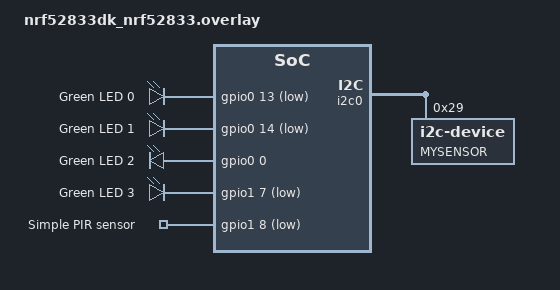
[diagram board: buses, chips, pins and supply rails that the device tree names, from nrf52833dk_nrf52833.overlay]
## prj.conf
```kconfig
# Increased stack due to settings API usage
CONFIG_SYSTEM_WORKQUEUE_STACK_SIZE=2048

CONFIG_BT=y
CONFIG_LOG=y
CONFIG_BT_SMP=y
CONFIG_BT_SIGNING=y
CONFIG_BT_PERIPHERAL=y
CONFIG_BT_DIS=y
CONFIG_BT_ATT_PREPARE_COUNT=5
CONFIG_BT_BAS=y
CONFIG_BT_HRS=y
CONFIG_BT_IAS=y
CONFIG_BT_PRIVACY=y
CONFIG_BT_DEVICE_NAME="Zephyr Peripheral Sample Long Name"
CONFIG_BT_DEVICE_APPEARANCE=833
CONFIG_BT_DEVICE_NAME_DYNAMIC=y
CONFIG_BT_DEVICE_NAME_MAX=65

CONFIG_BT_KEYS_OVERWRITE_OLDEST=y
CONFIG_BT_SETTINGS=y
CONFIG_FLASH=y
CONFIG_FLASH_PAGE_LAYOUT=y
CONFIG_FLASH_MAP=y
CONFIG_NVS=y
CONFIG_SETTINGS=y

CONFIG_GPIO=y
CONFIG_I2C=y
```

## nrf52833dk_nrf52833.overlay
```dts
// To get started, press Ctrl+Space to bring up the completion menu and view the available nodes.

// You can also use the buttons in the sidebar to perform actions on nodes.
// Actions currently available include:

// * Enabling / disabling the node
// * Adding the bus to a bus
// * Removing the node
// * Connecting ADC channels

// For more help, browse the DeviceTree documentation at https://docs.zephyrproject.org/latest/guides/dts/index.html
// You can also visit the nRF DeviceTree extension documentation at https://docs.nordicsemi.com/bundle/nrf-connect-vscode/page/guides/ncs_configure_app.html#devicetree-support-in-the-extension

    &i2c0 {
        mysensor: mysensor@29{
            compatible = "i2c-device";
            reg = < 0x29 >;
            label = "MYSENSOR";
        };
    };

    /{
        
        leds {
            led0: led_0 {
                gpios = <&gpio0 13 GPIO_ACTIVE_LOW>;
                label = "Green LED 0";
            };
            led1: led_1 {
                gpios = <&gpio0 14 GPIO_ACTIVE_LOW>;
                label = "Green LED 1";
            };
            led2: led_2 {
                gpios = <&gpio0 0 GPIO_ACTIVE_HIGH>;
                label = "Green LED 2";
            };
            led3: led_3 {
                gpios = <&gpio1 7 (GPIO_PULL_UP | GPIO_ACTIVE_LOW)>;
                label = "Green LED 3";
            };
        };
        

        MySignals
        {
         compatible = "gpio-keys";
          pir: pir
          {
            gpios = <&gpio1 8  (GPIO_PULL_UP | GPIO_ACTIVE_LOW)>;  
            label = "Simple PIR sensor";
          };
        };
        aliases {
            pir = &pir;
            led1 = &led1;
        };
    };
    
```

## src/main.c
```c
/* main.c - Application main entry point */

/*
 * Copyright (c) 2015-2016 Intel Corporation
 *
 * SPDX-License-Identifier: Apache-2.0
 */

#include <zephyr/types.h>
#include <stddef.h>
#include <string.h>
#include <errno.h>
#include <zephyr/sys/printk.h>
#include <zephyr/kernel.h>

#include <zephyr/drivers/gpio.h>

#include <zephyr/settings/settings.h>

#include <zephyr/bluetooth/bluetooth.h>
#include <zephyr/bluetooth/hci.h>
#include <zephyr/bluetooth/conn.h>
#include <zephyr/bluetooth/uuid.h>
#include <zephyr/bluetooth/gatt.h>
#include <zephyr/bluetooth/services/bas.h>
#include <zephyr/bluetooth/services/hrs.h>
#include <zephyr/bluetooth/services/ias.h>

#include "tsl.h"

#define LED0_NODE DT_ALIAS(led0) //blink
#define PIR1_NODE DT_ALIAS(pir) //pir

bool flag = 0; //blink flag
static const struct gpio_dt_spec led = GPIO_DT_SPEC_GET(LED0_NODE, gpios);
static const struct gpio_dt_spec pir = GPIO_DT_SPEC_GET_OR(PIR1_NODE, gpios, {0});

//uint32_t msg = 10; // test

uint64_t time_stamp = 0;

const uint32_t id = 0;
volatile uint32_t lux = 0;
volatile uint8_t movement = 1;

// ID | LUX | PIR
volatile uint32_t msg [] = {id, 0, 0};

// | 1 bajt flagi | 4 bajty ID | 4 bajty LUX | 4 bajty PIR |
static struct bt_data ad[] = {
    BT_DATA_BYTES(BT_DATA_FLAGS, 100),
    BT_DATA(BT_DATA_MANUFACTURER_DATA, &msg, sizeof(msg)),
};


static void blink(void){
	if(flag == 0){
		//gpio_pin_toggle_dt(&led);
		gpio_pin_set_dt(&led,0);
		//    k_msleep(100);
	}
	else{
		gpio_pin_set_dt(&led,1);
	}
}

static void connected(struct bt_conn *conn, uint8_t err)
{
	if (err) {
		printk("Connection failed (err 0x%02x)\n", err);
	} else {
		printk("Connected\n");
		//flag = 1;
		bt_le_adv_stop();
	}
}
static void disconnected(struct bt_conn *conn, uint8_t reason)
{
	printk("Disconnected (reason 0x%02x)\n", reason);
	//flag = 0;
	time_stamp = k_uptime_get();
	int disc = bt_disable();
}
BT_CONN_CB_DEFINE(conn_callbacks) = {
	.connected = connected,
	.disconnected = disconnected,
};

static void bt_start(void){
	int err = bt_enable(NULL);
	if (err) {
		printk("Bluetooth init failed (err %d)\n", err);
		return 0;
	}
}

static void adv_start(void)
{
	int err;

	printk("Bluetooth initialized\n");
	if (IS_ENABLED(CONFIG_SETTINGS)) {
		settings_load();
	}

	err = bt_le_adv_start(BT_LE_ADV_CONN_NAME, ad, ARRAY_SIZE(ad), NULL, 0);
	if (err) {
		printk("Advertising failed to start (err %d)\n", err);
		return;
	}

	printk("Advertising successfully started\n");
}

static struct gpio_callback pin_cb_data;

void pin_isr(const struct device *dev, struct gpio_callback *cb, uint32_t pins)
{	
	bt_le_adv_stop();
	bt_start();
	lux = READlux();		
	msg[1] = lux;		
	adv_start();
}

static void pin_cfg(void){
	gpio_is_ready_dt(&led);
	gpio_pin_configure_dt(&led, GPIO_OUTPUT_ACTIVE);
	gpio_pin_configure_dt(&pir, GPIO_INPUT);
	gpio_pin_interrupt_configure_dt(&pir, GPIO_INT_EDGE_TO_INACTIVE);
	gpio_init_callback(&pin_cb_data, pin_isr, BIT(pir.pin));
	gpio_add_callback(pir.port, &pin_cb_data);
}

int main(void)
{	
	INITtsl();
	//blink
	
	pin_cfg();

	bt_start();
	adv_start();

	while (1) {
		
		blink();
		//value to send
		movement = gpio_pin_get_dt(&pir);
		msg[2] = movement;
		flag = movement;

		if(k_uptime_get() - time_stamp >= 10000){
			bt_start();
			lux = READlux();
			msg[1] = lux;
			adv_start();
		}

		/*
		if(movement == 0){
			bt_start();
			lux = READlux();		
			msg[1] = lux;		
			adv_start();
		}
		*/
		
		k_sleep(K_MSEC(5000));
		//pm_state_force(0, &(struct pm_state_info){PM_STATE_SUSPEND_TO_IDLE, 0, 0});
	}
	return 0;
}
```

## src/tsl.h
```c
#include <zephyr/kernel.h>
#include <zephyr/drivers/gpio.h>
#include <zephyr/drivers/i2c.h>
#include <zephyr/sys/util.h>
#include <zephyr/sys/printk.h>
#include <inttypes.h>
#include <zephyr/device.h>

/*to main file
#define I2C0_NODE DT_NODELABEL(mysensor)
static const struct i2c_dt_spec dev_i2c = I2C_DT_SPEC_GET(I2C0_NODE);
*/

/*to overlay
&i2c0 {
    mysensor: mysensor@29{
        compatible = "i2c-device";
        reg = < 0x29 >;
        label = "MYSENSOR";
    };
};
*/

/*to proj.conf
CONFIG_GPIO=y
CONFIG_I2C=y
*/

#define I2C0_NODE DT_NODELABEL(mysensor)
static const struct i2c_dt_spec dev_i2c = I2C_DT_SPEC_GET(I2C0_NODE);

uint8_t reg;
int ret;

static void INITtsl(void){
    uint8_t config[2] = {0x00, 0x03};   
    ret = i2c_write_dt(&dev_i2c, config, sizeof(config));
    if (ret != 0) {
        printk("Failed to write to I2C device address %x at reg. %x\n", dev_i2c.addr, config[0]);
    }
	//gain tsl.setGain(TSL2591_GAIN_MED); 0x10
	//timeing tsl.setTiming(TSL2591_INTEGRATIONTIME_300MS); 0x02
	uint8_t gain[2] = {(0xA0 | 0x01), (0x02 | 0x10)};
	ret = i2c_write_dt(&dev_i2c, gain, sizeof(gain));
    if (ret != 0) {
        printk("Failed to write to I2C device address %x at reg. %x\n", dev_i2c.addr, config[0]);
    }
}

static uint8_t READid(void){
    reg = (0xA0 | 0x12);
    uint8_t data;
    ret = i2c_write_read_dt(&dev_i2c, &reg, 1, &data, 1);
    if (ret != 0) {
        printk("Failed to read from I2C device address %x at Reg. %x\n", dev_i2c.addr, reg);
    }
	//printk("Dev ID: %d\n", data);
    return data;
}

static uint32_t READlux(void){
    for (uint8_t d = 0; d <= 2; d++) {
    		k_msleep(120);
  		}

		uint32_t x;
 		uint16_t y;

		uint8_t buffer[2];
		buffer[0] = (0xA0 | 0x14);
		//i2c_dev->write_then_read(buffer, 1, buffer, 2);
		ret = i2c_write_read_dt(&dev_i2c, buffer, 1, buffer, 2);
		if (ret != 0) {
            printk("Failed to read from I2C device address %x at Reg. %x\n", dev_i2c.addr, reg);
            return;
        }
		//y = (uint16_t(buffer[1]) << 8 | uint16_t(buffer[0]));
		y = (buffer[1] << 8 | buffer[0]);
		//uint8_t buffer[2];
		buffer[0] = (0xA0 | 0x16);
		//i2c_dev->write_then_read(buffer, 1, buffer, 2);
		ret = i2c_write_read_dt(&dev_i2c, buffer, 1, buffer, 2);
		if (ret != 0) {
            printk("Failed to read from I2C device address %x at Reg. %x\n", dev_i2c.addr, reg);
            return;
        }
		x = (buffer[1] << 8 | buffer[0]);

		x <<= 16;
 		x |= y;
	
		//printk("LUX: %d\n", x);
        return x;
}
```
